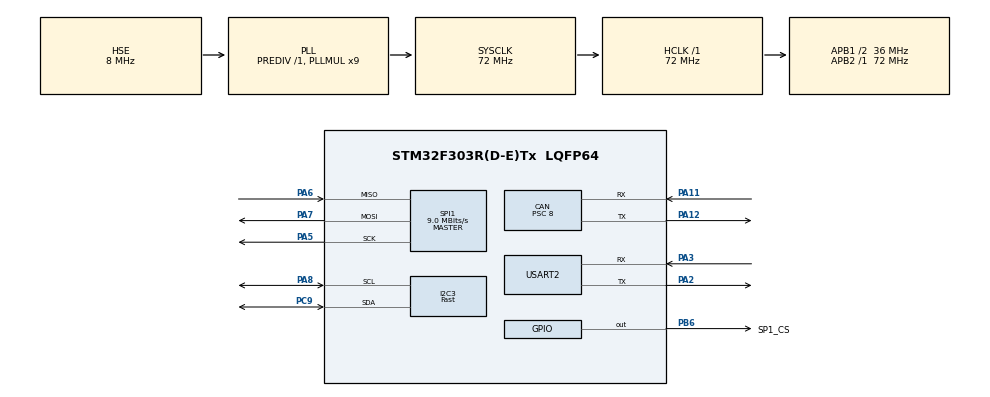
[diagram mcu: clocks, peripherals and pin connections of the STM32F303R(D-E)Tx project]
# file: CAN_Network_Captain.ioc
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CAN.BS1=CAN_BS1_2TQ
CAN.BS2=CAN_BS2_3TQ
CAN.CalculateBaudRate=749999
CAN.CalculateTimeBit=1333
CAN.CalculateTimeQuantum=222.22222222222223
CAN.Mode=CAN_MODE_NORMAL
CAN.NART=DISABLE
CAN.Prescaler=8
CAN.SJW=CAN_SJW_2TQ
FATFS._MAX_SS=4096
FREERTOS.INCLUDE_vTaskDelayUntil=1
FREERTOS.MEMORY_ALLOCATION=0
FREERTOS.Mutexes01=canTelemetryMutex,Dynamic,NULL
FREERTOS.Tasks01=defaultTask,0,128,StartDefaultTask,Default,NULL,Dynamic,NULL,NULL;SDCardSaveTask,2,256,StartSDCardSaveTask,Default,NULL,Dynamic,NULL,NULL;GetData1,-1,256,StartGetData1,Default,NULL,Dynamic,NULL,NULL;GetData2,-1,128,StartGetData2,Default,NULL,Dynamic,NULL,NULL;ReadCAN,0,128,StartReadCAN,Default,NULL,Dynamic,NULL,NULL;GetAccelTask,-1,256,StartGetAccelTask,Default,NULL,Dynamic,NULL,NULL
FREERTOS.configCHECK_FOR_STACK_OVERFLOW=2
FREERTOS.configMINIMAL_STACK_SIZE=128
FREERTOS.configTOTAL_HEAP_SIZE=8192
FREERTOS.configUSE_NEWLIB_REENTRANT=1
I2C3.I2C_Speed_Mode=I2C_Fast
I2C3.Timing=0x0000020B
Mcu.Family=STM32F3
Mcu.Name=STM32F303R(D-E)Tx
Mcu.Package=LQFP64
NVIC.PriorityGroup=NVIC_PRIORITYGROUP_4
NVIC.TIM6_DAC_IRQn=true\:15\:0\:false\:false\:true\:false\:false\:true\:true
NVIC.TimeBase=TIM6_DAC_IRQn
NVIC.TimeBaseIP=TIM6
PA11.Mode=CAN_Activate
PA11.Signal=CAN_RX
PA12.Mode=CAN_Activate
PA12.Signal=CAN_TX
PA2.Mode=Asynchronous
PA2.Signal=USART2_TX
PA3.Mode=Asynchronous
PA3.Signal=USART2_RX
PA5.Mode=Full_Duplex_Master
PA5.Signal=SPI1_SCK
PA6.Mode=Full_Duplex_Master
PA6.Signal=SPI1_MISO
PA7.Mode=Full_Duplex_Master
PA7.Signal=SPI1_MOSI
PA8.Mode=I2C
PA8.Signal=I2C3_SCL
PB6.GPIO_Label=SP1_CS
PB6.Signal=GPIO_Output
PC9.Mode=I2C
PC9.Signal=I2C3_SDA
PF0-OSC_IN.Mode=HSE-External-Oscillator
PF0-OSC_IN.Signal=RCC_OSC_IN
PF1-OSC_OUT.Mode=HSE-External-Oscillator
PF1-OSC_OUT.Signal=RCC_OSC_OUT
ProjectManager.HeapSize=0x200
ProjectManager.StackSize=0x400
ProjectManager.TargetToolchain=STM32CubeIDE
RCC.AHBFreq_Value=72000000
RCC.APB1CLKDivider=RCC_HCLK_DIV2
RCC.APB1Freq_Value=36000000
RCC.APB1TimFreq_Value=72000000
RCC.APB2Freq_Value=72000000
RCC.APB2TimFreq_Value=72000000
RCC.CortexFreq_Value=72000000
RCC.DATA_CACHE_ENABLE=1
RCC.EnbaleCSS=true
RCC.HCLKFreq_Value=72000000
RCC.HSE_VALUE=8000000
RCC.HSI_VALUE=8000000
RCC.INSTRUCTION_CACHE_ENABLE=1
RCC.LSE_VALUE=32768
RCC.PLLMUL=RCC_PLL_MUL9
RCC.PLLSourceVirtual=RCC_PLLSOURCE_HSE
RCC.PWR_Regulator_Voltage_Scale=PWR_REGULATOR_VOLTAGE_SCALE2
RCC.RCC_TIM_PRescaler_Selection=RCC_TIMPRES_DESACTIVATED
RCC.SYSCLKFreq_VALUE=72000000
RCC.SYSCLKSourceVirtual=RCC_SYSCLKSOURCE_PLLCLK
RCC.USBFreq_Value=72000000
SPI1.BaudRatePrescaler=SPI_BAUDRATEPRESCALER_8
SPI1.CalculateBaudRate=9.0 MBits/s
SPI1.DataSize=SPI_DATASIZE_8BIT
SPI1.Direction=SPI_DIRECTION_2LINES
SPI1.Mode=SPI_MODE_MASTER
SPI1.VirtualType=VM_MASTER
USART2.VirtualMode-Asynchronous=VM_ASYNC
VP_FATFS_VS_Generic.Mode=User_defined
VP_FREERTOS_VS_CMSIS_V1.Mode=CMSIS_V1
VP_SYS_VS_tim6.Mode=TIM6
board=custom

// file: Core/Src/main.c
/* USER CODE BEGIN Header */
/**
  ******************************************************************************
  * @file           : main.c
  * @brief          : Main program body
  ******************************************************************************
  * @attention
  *
  * Copyright (c) 2022 STMicroelectronics.
  * All rights reserved.
  *
  * This software is licensed under terms that can be found in the LICENSE file
  * in the root directory of this software component.
  * If no LICENSE file comes with this software, it is provided AS-IS.
  *
  ******************************************************************************
  */
/* USER CODE END Header */
#include "main.h"
#include "cmsis_os.h"
#include "fatfs.h"

/* USER CODE BEGIN Includes */

#include "mpu6050.h"
#include "csv.h"
#include <string.h>
#include <stdio.h>
#include <stdarg.h> //for va_list var arg functions
#include <stdlib.h>
#include <time.h>

/* USER CODE END Includes */

CAN_HandleTypeDef hcan;

I2C_HandleTypeDef hi2c3;

SPI_HandleTypeDef hspi1;

UART_HandleTypeDef huart2;

osThreadId defaultTaskHandle;
osThreadId SDCardSaveTaskHandle;
osThreadId GetData1Handle;
osThreadId GetData2Handle;
osThreadId ReadCANHandle;
osThreadId GetAccelTaskHandle;
osMutexId canTelemetryMutexHandle;
/* USER CODE BEGIN PV */
MPU6050_t MPU6050;

/* USER CODE END PV */

void SystemClock_Config(void);
static void MX_GPIO_Init(void);
static void MX_USART2_UART_Init(void);
static void MX_CAN_Init(void);
static void MX_SPI1_Init(void);
static void MX_I2C3_Init(void);
void StartDefaultTask(void const * argument);
void StartSDCardSaveTask(void const * argument);
void StartGetData1(void const * argument);
void StartGetData2(void const * argument);
void StartReadCAN(void const * argument);
void StartGetAccelTask(void const * argument);

/* USER CODE BEGIN PFP */
void myprintf(const char *fmt, ...);

/* USER CODE END PFP */

/* USER CODE BEGIN 0 */

// FATFS variables
FATFS 		FatFs;
FIL 		rwfile;
FILINFO*	filInfo;
FRESULT 	fres;                 //Result after operations
uint8_t		OVERWRITE = 1;		  // Overwrite files in the directory

// RTOS task variables
int16_t failsafe = 3000;
int16_t DefaultTask_delay = 3000;
int16_t	SDCardSave_delay = 3000;
int16_t	read_delay = 500;
int16_t	accel_read_delay = 200;
int16_t retransmit_delay = 1000;

typedef uint32_t TaskProfiler;
TaskProfiler DefaultProfiler;
uint32_t current_time;				// HAL get tick time since restart
uint32_t accel_data_time;			// change to a single value taskQueue?

// CAN variables
CAN_HandleTypeDef     	CanHandle;
CAN_RxHeaderTypeDef		RxHeader;
uint8_t               	RxData[4];	// global CAN received data
uint32_t              	TxMailbox;	// global CAN transmission mailbox
CAN_FilterTypeDef 		canfil; //CAN Bus Filter
// flag variables for CAN data received, these can be made into signals using osSignalSet()
uint8_t data1collected = 0;
uint8_t accel_data_collected = 0;
// Accelerometer measurement variables, can this be done in DMA?
float Ax, Ay, Az, Gx, Gy, Gz = 0;

//m
//char buffer[100];

/* USER CODE END 0 */

int main(void)
{

  /* MCU Configuration--------------------------------------------------------*/

  /* Reset of all peripherals, Initializes the Flash interface and the Systick. */
  HAL_Init();

  /* Configure the system clock */
  SystemClock_Config();

  /* Initialize all configured peripherals */
  MX_GPIO_Init();
  MX_USART2_UART_Init();
  MX_CAN_Init();
  MX_FATFS_Init();
  MX_SPI1_Init();
  MX_I2C3_Init();
  /* USER CODE BEGIN 2 */

  myprintf("------- CAN Captain Controller ----------\r\n");

  canfil.FilterBank = 0;
  canfil.FilterMode = CAN_FILTERMODE_IDMASK;
  canfil.FilterFIFOAssignment = CAN_RX_FIFO0;
  canfil.FilterIdHigh = 0;
  canfil.FilterIdLow = 0;
  canfil.FilterMaskIdHigh = 0;
  canfil.FilterMaskIdLow = 0;
  canfil.FilterScale = CAN_FILTERSCALE_32BIT;
  canfil.FilterActivation = ENABLE;
  canfil.SlaveStartFilterBank = 14;

  if (HAL_CAN_ConfigFilter(&hcan,&canfil) != HAL_OK){
	Error_Handler();
  }
  if (HAL_CAN_Start(&hcan) != HAL_OK){
	Error_Handler();
  }

  if (HAL_CAN_ActivateNotification(&hcan, CAN_IT_RX_FIFO0_MSG_PENDING) != HAL_OK){
	Error_Handler();
  }

  myprintf("SD Card Connecting\r\n");
  fres = f_mount(&FatFs, "0", 1);    //1=mount now
  if (fres != FR_OK)
  {
  myprintf("No SD Card found : (%i)\r\n", fres);
  }
  else {
  myprintf("SD Card Mounted Successfully!!!\r\n");
  }
  f_mount(NULL, "0", 0);

  /* USER CODE END 2 */

  /* Create the mutex(es) */
  /* definition and creation of canTelemetryMutex */
  osMutexDef(canTelemetryMutex);
  canTelemetryMutexHandle = osMutexCreate(osMutex(canTelemetryMutex));

  /* Create the thread(s) */
  /* definition and creation of defaultTask */
  osThreadDef(defaultTask, StartDefaultTask, osPriorityNormal, 0, 128);
  defaultTaskHandle = osThreadCreate(osThread(defaultTask), NULL);

  /* definition and creation of SDCardSaveTask */
  osThreadDef(SDCardSaveTask, StartSDCardSaveTask, osPriorityHigh, 0, 256);
  SDCardSaveTaskHandle = osThreadCreate(osThread(SDCardSaveTask), NULL);

  /* definition and creation of GetData1 */
  osThreadDef(GetData1, StartGetData1, osPriorityBelowNormal, 0, 256);
  GetData1Handle = osThreadCreate(osThread(GetData1), NULL);

  /* definition and creation of GetData2 */
  osThreadDef(GetData2, StartGetData2, osPriorityBelowNormal, 0, 128);
  GetData2Handle = osThreadCreate(osThread(GetData2), NULL);

  /* definition and creation of ReadCAN */
  osThreadDef(ReadCAN, StartReadCAN, osPriorityNormal, 0, 128);
  ReadCANHandle = osThreadCreate(osThread(ReadCAN), NULL);

  /* definition and creation of GetAccelTask */
  osThreadDef(GetAccelTask, StartGetAccelTask, osPriorityBelowNormal, 0, 256);
  GetAccelTaskHandle = osThreadCreate(osThread(GetAccelTask), NULL);

  /* USER CODE BEGIN RTOS_THREADS */
  /* add threads, ... */
  //osThreadDef(CANMailboxCheck, StartCANMailboxCheck, osPriorityNormal, 0, 128);

  /* USER CODE END RTOS_THREADS */

  /* Start scheduler */
  osKernelStart();

  /* We should never get here as control is now taken by the scheduler */
  /* Infinite loop */
  while (1)
  {

  }
}

void SystemClock_Config(void)
{
  RCC_OscInitTypeDef RCC_OscInitStruct = {0};
  RCC_ClkInitTypeDef RCC_ClkInitStruct = {0};
  RCC_PeriphCLKInitTypeDef PeriphClkInit = {0};

  /** Initializes the RCC Oscillators according to the specified parameters
  * in the RCC_OscInitTypeDef structure.
  */
  RCC_OscInitStruct.OscillatorType = RCC_OSCILLATORTYPE_HSI|RCC_OSCILLATORTYPE_HSE;
  RCC_OscInitStruct.HSEState = RCC_HSE_ON;
  RCC_OscInitStruct.HSIState = RCC_HSI_ON;
  RCC_OscInitStruct.HSICalibrationValue = RCC_HSICALIBRATION_DEFAULT;
  RCC_OscInitStruct.PLL.PLLState = RCC_PLL_ON;
  RCC_OscInitStruct.PLL.PLLSource = RCC_PLLSOURCE_HSE;
  RCC_OscInitStruct.PLL.PLLMUL = RCC_PLL_MUL9;
  RCC_OscInitStruct.PLL.PREDIV = RCC_PREDIV_DIV1;
  if (HAL_RCC_OscConfig(&RCC_OscInitStruct) != HAL_OK)
  {
    Error_Handler();
  }

  /** Initializes the CPU, AHB and APB buses clocks
  */
  RCC_ClkInitStruct.ClockType = RCC_CLOCKTYPE_HCLK|RCC_CLOCKTYPE_SYSCLK
                              |RCC_CLOCKTYPE_PCLK1|RCC_CLOCKTYPE_PCLK2;
  RCC_ClkInitStruct.SYSCLKSource = RCC_SYSCLKSOURCE_PLLCLK;
  RCC_ClkInitStruct.AHBCLKDivider = RCC_SYSCLK_DIV1;
  RCC_ClkInitStruct.APB1CLKDivider = RCC_HCLK_DIV2;
  RCC_ClkInitStruct.APB2CLKDivider = RCC_HCLK_DIV1;

  if (HAL_RCC_ClockConfig(&RCC_ClkInitStruct, FLASH_LATENCY_2) != HAL_OK)
  {
    Error_Handler();
  }
  PeriphClkInit.PeriphClockSelection = RCC_PERIPHCLK_USART2|RCC_PERIPHCLK_I2C3;
  PeriphClkInit.Usart2ClockSelection = RCC_USART2CLKSOURCE_PCLK1;
  PeriphClkInit.I2c3ClockSelection = RCC_I2C3CLKSOURCE_HSI;
  if (HAL_RCCEx_PeriphCLKConfig(&PeriphClkInit) != HAL_OK)
  {
    Error_Handler();
  }

  /** Enables the Clock Security System
  */
  HAL_RCC_EnableCSS();
}

static void MX_CAN_Init(void)
{

  hcan.Instance = CAN;
  hcan.Init.Prescaler = 8;
  hcan.Init.Mode = CAN_MODE_NORMAL;
  hcan.Init.SyncJumpWidth = CAN_SJW_2TQ;
  hcan.Init.TimeSeg1 = CAN_BS1_2TQ;
  hcan.Init.TimeSeg2 = CAN_BS2_3TQ;
  hcan.Init.TimeTriggeredMode = DISABLE;
  hcan.Init.AutoBusOff = DISABLE;
  hcan.Init.AutoWakeUp = DISABLE;
  hcan.Init.AutoRetransmission = DISABLE;
  hcan.Init.ReceiveFifoLocked = DISABLE;
  hcan.Init.TransmitFifoPriority = DISABLE;
  if (HAL_CAN_Init(&hcan) != HAL_OK)
  {
    Error_Handler();
  }

}

static void MX_I2C3_Init(void)
{

  hi2c3.Instance = I2C3;
  hi2c3.Init.Timing = 0x0000020B;
  hi2c3.Init.OwnAddress1 = 0;
  hi2c3.Init.AddressingMode = I2C_ADDRESSINGMODE_7BIT;
  hi2c3.Init.DualAddressMode = I2C_DUALADDRESS_DISABLE;
  hi2c3.Init.OwnAddress2 = 0;
  hi2c3.Init.OwnAddress2Masks = I2C_OA2_NOMASK;
  hi2c3.Init.GeneralCallMode = I2C_GENERALCALL_DISABLE;
  hi2c3.Init.NoStretchMode = I2C_NOSTRETCH_DISABLE;
  if (HAL_I2C_Init(&hi2c3) != HAL_OK)
  {
    Error_Handler();
  }

  /** Configure Analogue filter
  */
  if (HAL_I2CEx_ConfigAnalogFilter(&hi2c3, I2C_ANALOGFILTER_ENABLE) != HAL_OK)
  {
    Error_Handler();
  }

  /** Configure Digital filter
  */
  if (HAL_I2CEx_ConfigDigitalFilter(&hi2c3, 0) != HAL_OK)
  {
    Error_Handler();
  }

}

static void MX_SPI1_Init(void)
{

  /* SPI1 parameter configuration*/
  hspi1.Instance = SPI1;
  hspi1.Init.Mode = SPI_MODE_MASTER;
  hspi1.Init.Direction = SPI_DIRECTION_2LINES;
  hspi1.Init.DataSize = SPI_DATASIZE_8BIT;
  hspi1.Init.CLKPolarity = SPI_POLARITY_LOW;
  hspi1.Init.CLKPhase = SPI_PHASE_1EDGE;
  hspi1.Init.NSS = SPI_NSS_SOFT;
  hspi1.Init.BaudRatePrescaler = SPI_BAUDRATEPRESCALER_8;
  hspi1.Init.FirstBit = SPI_FIRSTBIT_MSB;
  hspi1.Init.TIMode = SPI_TIMODE_DISABLE;
  hspi1.Init.CRCCalculation = SPI_CRCCALCULATION_DISABLE;
  hspi1.Init.CRCPolynomial = 7;
  hspi1.Init.CRCLength = SPI_CRC_LENGTH_DATASIZE;
  hspi1.Init.NSSPMode = SPI_NSS_PULSE_ENABLE;
  if (HAL_SPI_Init(&hspi1) != HAL_OK)
  {
    Error_Handler();
  }

}

static void MX_USART2_UART_Init(void)
{

  huart2.Instance = USART2;
  huart2.Init.BaudRate = 38400;
  huart2.Init.WordLength = UART_WORDLENGTH_8B;
  huart2.Init.StopBits = UART_STOPBITS_1;
  huart2.Init.Parity = UART_PARITY_NONE;
  huart2.Init.Mode = UART_MODE_TX_RX;
  huart2.Init.HwFlowCtl = UART_HWCONTROL_NONE;
  huart2.Init.OverSampling = UART_OVERSAMPLING_16;
  huart2.Init.OneBitSampling = UART_ONE_BIT_SAMPLE_DISABLE;
  huart2.AdvancedInit.AdvFeatureInit = UART_ADVFEATURE_NO_INIT;
  if (HAL_UART_Init(&huart2) != HAL_OK)
  {
    Error_Handler();
  }

}

static void MX_GPIO_Init(void)
{
  GPIO_InitTypeDef GPIO_InitStruct = {0};

  /* GPIO Ports Clock Enable */
  __HAL_RCC_GPIOF_CLK_ENABLE();
  __HAL_RCC_GPIOA_CLK_ENABLE();
  __HAL_RCC_GPIOC_CLK_ENABLE();
  __HAL_RCC_GPIOB_CLK_ENABLE();

  /*Configure GPIO pin Output Level */
  HAL_GPIO_WritePin(SP1_CS_GPIO_Port, SP1_CS_Pin, GPIO_PIN_RESET);

  /*Configure GPIO pin : SP1_CS_Pin */
  GPIO_InitStruct.Pin = SP1_CS_Pin;
  GPIO_InitStruct.Mode = GPIO_MODE_OUTPUT_PP;
  GPIO_InitStruct.Pull = GPIO_NOPULL;
  GPIO_InitStruct.Speed = GPIO_SPEED_FREQ_LOW;
  HAL_GPIO_Init(SP1_CS_GPIO_Port, &GPIO_InitStruct);

}

/* USER CODE BEGIN 4 */

int dataShift = 10;
int dataPacket = 1;

void myprintf(const char *fmt, ...) {

	char *buffer = malloc(100);

	va_list args;
	va_start(args, fmt);
	vsnprintf(buffer, 100, fmt, args);
	va_end(args);

	int len = strlen(buffer);
	HAL_UART_Transmit(&huart2, (uint8_t*)buffer, len, 1000);
	free(buffer);
}

char* int_to_string(int num) {
    int len = snprintf(NULL, 0, "%.10d", num);
    char* str = malloc(len + 1);
    snprintf(str, len + 1, "%.10d", num);
    return str;
}

void printCANMessage(CAN_RxHeaderTypeDef Header, uint8_t data[]){
	char dataStr[20];
	myprintf("canMsg = 0x%lx %li", Header.StdId, Header.DLC);
	for (int i = 0; i<Header.DLC; i++)  {  // print the data
		myprintf(dataStr, " %x", data[i]);
	}
	myprintf("\r\n");
}

void print_buffer(CSV_BUFFER *buffer){
	int i, j;
	myprintf("\n");
	for (i = 0; i < buffer->rows; i++) {
		for (j = 0; j < buffer->width[i]; j++) {
			myprintf("%c%s%c%c", buffer->text_delim, buffer->field[i][j]->text, buffer->text_delim, buffer->field_delim);
		}
		myprintf("\r\n");
	}
	myprintf("\r\n");
}

// float to string
void ftstr(char* str, float num) {
	int whole = (int)num;
	int dec = (int)((num - whole) * 1000 + 0.5); // 3 decimal places
	if (dec < 0) {
	        dec = -dec;
	    }
	if (whole < 99999){
		sprintf(str, "%d.%d", whole, dec);
	}
}

/* USER CODE END 4 */

void StartDefaultTask(void const * argument)
{
  /* USER CODE BEGIN 5 */
	CAN_TxHeaderTypeDef   TxHeader;

	// CAN default data
	TxHeader.StdId = 0x222;
	TxHeader.ExtId = 0x00;
	TxHeader.RTR = CAN_RTR_DATA;
	TxHeader.IDE = CAN_ID_STD;
	TxHeader.DLC = 4;
	TxHeader.TransmitGlobalTime = DISABLE;

	uint8_t freeMailboxs;
	uint8_t data[10] = "bcad";

	/* Infinite loop */
	for(;;)
	{
		//myprintf(" -- STARTING thread DefaultTask -- \r\n");
		DefaultProfiler++;

//		if (HAL_CAN_AddTxMessage(&hcan, &TxHeader, data, &TxMailbox) != HAL_OK){
//			Error_Handler();
//		}
//		freeMailboxs = HAL_CAN_GetTxMailboxesFreeLevel(&hcan);
//		myprintf("packet sent: %s\r\n", data);
//		myprintf("num free mailboxs: %i\r\n", freeMailboxs);
//		myprintf("text mailbox used: %ld\r\n", TxMailbox);

		//myprintf(" -- ENDING thread DefaultTask -- \r\n");
		osDelay(DefaultTask_delay);	// Task is put to sleep for 500ms
	}
  /* USER CODE END 5 */
}

void StartSDCardSaveTask(void const * argument)
{
  /* USER CODE BEGIN StartSDCardSaveTask */
  uint16_t current_row = 0;
  uint8_t file_number = 1;
  TCHAR file_path[30];
  char string_value[20] = {0};

  sprintf(file_path, "0:/csv/test%hu.csv", file_number);
  /* Infinite loop */
  for(;;)
  {
	myprintf(" -- STARTING thread SDCardSave -- \r\n");

	myprintf("Mounting SD card\r\n");
		fres = f_mount(&FatFs, "0", 1);
		if (fres != FR_OK){
			myprintf("f_mount problem: %d\r\n", fres);
		}
		else if (file_number < 10){
			myprintf("SD Card Mounted!\r\n");

			if (current_row > 10 || file_number == 1){
				current_row = 0;
				do {
					sprintf(file_path, "0:/csv/test%hu.csv", file_number);
					fres = f_stat(file_path, filInfo);
					file_number++;
					if (fres != FR_OK) break;
					myprintf("filepath exists: %s\r\n",file_path);
				} while(fres != FR_NO_FILE && !OVERWRITE);
			}

			myprintf("using filepath: %s\r\n",file_path);

			// read file, else if doesnt exist create new file
			fres = f_open(&rwfile, file_path, FA_OPEN_ALWAYS | FA_READ | FA_WRITE);
			if (fres != FR_OK)
			{
				myprintf("f_open problem: %d\r\n", fres);
			}
			else{
				myprintf("Creating buffer\r\n");
				CSV_BUFFER *buffer = csv_create_buffer();

				if (current_row == 0){
					// first write to the file requires the data headings to be defined
					myprintf("Writing data headings \r\n");
					csv_set_field(buffer, 0, 0, "Time (ms)");
					csv_set_field(buffer, 0, 1, "Accel x (m/s2)");
					csv_set_field(buffer, 0, 2, "Accel y (m/s2)");
					csv_set_field(buffer, 0, 3, "Accel z (m/s2)");
					csv_set_field(buffer, 0, 4, "Roll x (m/s2)");
					csv_set_field(buffer, 0, 5, "Roll y (m/s2)");
					csv_set_field(buffer, 0, 6, "Roll z (m/s2)");
					csv_set_field(buffer, 0, 7, "Temp (C)\r");
					current_row++;
				}
				else{
					myprintf("Loading csv\r\n");
					csv_load(buffer, &rwfile);
				}

				myprintf("editing csv\r\n");
				// add a row of measurement values
				if(accel_data_collected){			// set MPU6050 values
					memset(string_value, 0, sizeof(string_value));
					sprintf(string_value, "%li", accel_data_time);
					csv_set_field(buffer, current_row, 0, string_value);
					memset(string_value, 0, sizeof(string_value));
					ftstr(string_value, Ax);
					csv_set_field(buffer, current_row, 1, string_value);
					memset(string_value, 0, sizeof(string_value));
					ftstr(string_value, Ay);
					csv_set_field(buffer, current_row, 2, string_value);
					memset(string_value, 0, sizeof(string_value));
					ftstr(string_value, Az);
					csv_set_field(buffer, current_row, 3, string_value);
					memset(string_value, 0, sizeof(string_value));
					ftstr(string_value, Gx);
					csv_set_field(buffer, current_row, 4, string_value);
					memset(string_value, 0, sizeof(string_value));
					ftstr(string_value, Gy);
					csv_set_field(buffer, current_row, 5, string_value);
					memset(string_value, 0, sizeof(string_value));
					ftstr(string_value, Gz);
					csv_set_field(buffer, current_row, 6, string_value);
					// final character placeholder
					// the \r is needed for csv_set_field termination of the row
					csv_set_field(buffer, current_row+1, 0, "end\r");
					current_row++;
				}
				print_buffer(buffer);
				csv_save(&rwfile, buffer);

				f_mount(NULL, "0", 0);

				f_close(&rwfile);
				csv_destroy_buffer(buffer);
				}
			}
		else{
			myprintf("file write completed\r\n");
		}

	// restart CAN telemetry threads
	//myprintf(" -- RESUMING thread GetData1 -- \r\n");
	osThreadResume(GetData1Handle);
	//myprintf(" -- RESUMING thread GetData2 -- \r\n");
	osThreadResume(GetData2Handle);
	// reset data collection
	//myprintf(" -- RESUMING thread GetAccel -- \r\n");
	osThreadResume(GetAccelTaskHandle);
	accel_data_collected = 0;
	myprintf(" -- ENDING thread SDCardSave -- \r\n");
	osDelay(SDCardSave_delay);
  }
  /* USER CODE END StartSDCardSaveTask */
}

void StartGetData1(void const * argument)
{
  /* USER CODE BEGIN StartGetData1 */
	CAN_TxHeaderTypeDef   TxHeader1;

	// can transmission 1
	TxHeader1.StdId = 0x201;
	TxHeader1.ExtId = 0x00;
	TxHeader1.RTR = CAN_RTR_DATA;
	TxHeader1.IDE = CAN_ID_STD;
	TxHeader1.DLC = 4;
	TxHeader1.TransmitGlobalTime = DISABLE;

	uint8_t TransmissionData1[8] = "dat1";
	uint8_t node1req[4] = {0x77, 0x6f, 0x6f, 0x66};

	/* Infinite loop */
  for(;;)
  {
	  myprintf(" -- STARTING thread GetData1 -- \r\n");
	  if(HAL_CAN_GetTxMailboxesFreeLevel(&hcan)){
		  if(HAL_CAN_AddTxMessage(&hcan, &TxHeader1, TransmissionData1, &TxMailbox) == HAL_OK){
			  myprintf("CAN message sent to data1\r\n");}
		  else{
			  Error_Handler();
		  }
	  }
	  osDelay(10);	// response delay
	  // continue retransmission until data1 is collected
	  // change this to wait for a flag change from ReadCAN
	  if (RxHeader.StdId == 0x206 &&
		  RxData[0] == node1req[0] &&
		  RxData[1] == node1req[1] &&
	      RxData[2] == node1req[2] &&
		  RxData[3] == node1req[3]){
		  // process data1...
		  myprintf("CAN response from node1\r\n");
		  myprintf("processing...\r\n");
		  myprintf(" -- SUSPENDING thread GetData1 -- \r\n");
		  osThreadSuspend(GetData1Handle);
	  }
	  else{
		  myprintf("no CAN response, delaying thread GetData1\r\n");
		  current_time = HAL_GetTick();
		  myprintf("current time: %lu\r\n", current_time);
		  myprintf(" -- ENDING thread GetData1 -- \r\n");
		  osDelay(retransmit_delay);
	  }

  }
  /* USER CODE END StartGetData1 */
}

void StartGetData2(void const * argument)
{
  /* USER CODE BEGIN StartGetData2 */
  /* Infinite loop */
  for(;;)
  {
    osDelay(retransmit_delay);
  }
  /* USER CODE END StartGetData2 */
}

void StartReadCAN(void const * argument)
{
  /* USER CODE BEGIN StartReadCAN */
	/* Infinite loop */
	for(;;)
	{
		//myprintf(" -- STARTING thread ReadCAN -- \r\n");
		if(HAL_CAN_GetRxFifoFillLevel(&hcan, CAN_RX_FIFO0)){
			HAL_CAN_GetRxMessage(&hcan, CAN_RX_FIFO0, &RxHeader, RxData);
			//HAL_GPIO_TogglePin(LED_GPIO_Port, LED_Pin);	//LED shows a CAN message read
			printCANMessage(RxHeader, RxData);

//			if (RxHeader.StdId == 0x206){
//				myprintf("data request response from node1 of id 0x206\r\n");
//				data1collected = 1;	// can be changed into thread signal/flag
//			}
		}
		//myprintf(" -- ENDING thread ReadCAN -- \r\n");
		osDelay(read_delay);
	}
  /* USER CODE END StartReadCAN */
}

void StartGetAccelTask(void const * argument)
{
  /* USER CODE BEGIN StartGetAccelTask */
  /* Infinite loop */
	uint8_t accel_cnt = 0;
	MPU6050_Init(&hi2c3);
  /* Infinite loop */
  for(;;)
  {
	myprintf(" -- running MPU6050 measurement task -- \r\n");
	Ax = 0;
	Ay = 0;
	Az = 0;
	Gx = 0;
	Gy = 0;
	Gz = 0;
	// take 4 accel_cnt to average out the value
	for(int i = 0; i < 4; i++){
		if (!MPU6050_Read_All(&hi2c3, &MPU6050)){
			myprintf("fetching.. ");
			Ax += MPU6050.Ax;
			Ay += MPU6050.Ay;
			Az += MPU6050.Az;
			Gx += MPU6050.Gx;
			Gy += MPU6050.Gy;
			Gz += MPU6050.Gz;
			accel_cnt++;
		}
	}
	if(accel_cnt == 4){
		myprintf(" Data collected.\r\n");
		accel_data_collected = 1;
		accel_data_time = HAL_GetTick();
		Ax += Ax/4;
		Ay += Ay/4;
		Az += Az/4;
		Gx += Gx/4;
		Gy += Gy/4;
		Gz += Gz/4;
		osThreadSuspend(GetAccelTaskHandle);
	}
	else{
		MPU6050_Init(&hi2c3);
	}
	accel_cnt = 0;
	osDelay(accel_read_delay);
	}

  /* USER CODE END StartGetAccelTask */
}

void HAL_TIM_PeriodElapsedCallback(TIM_HandleTypeDef *htim)
{
  if (htim->Instance == TIM6) {
    HAL_IncTick();
  }
}

void Error_Handler(void)
{
  /* USER CODE BEGIN Error_Handler_Debug */
  /* User can add his own implementation to report the HAL error return state */
  __disable_irq();
  while (1)
  {
	  myprintf("HAL error occurred!\r\n"); // print
  }
  /* USER CODE END Error_Handler_Debug */
}

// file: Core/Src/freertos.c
/* USER CODE BEGIN Header */
/**
  ******************************************************************************
  * File Name          : freertos.c
  * Description        : Code for freertos applications
  ******************************************************************************
  * @attention
  *
  * Copyright (c) 2023 STMicroelectronics.
  * All rights reserved.
  *
  * This software is licensed under terms that can be found in the LICENSE file
  * in the root directory of this software component.
  * If no LICENSE file comes with this software, it is provided AS-IS.
  *
  ******************************************************************************
  */
/* USER CODE END Header */

#include "FreeRTOS.h"
#include "task.h"
#include "main.h"

/* Hook prototypes */
void vApplicationStackOverflowHook(xTaskHandle xTask, signed char *pcTaskName);

/* USER CODE BEGIN 4 */
__weak void vApplicationStackOverflowHook(xTaskHandle xTask, signed char *pcTaskName)
{
   /* Run time stack overflow checking is performed if
   configCHECK_FOR_STACK_OVERFLOW is defined to 1 or 2. This hook function is
   called if a stack overflow is detected. */
	int stackoverflow = 1;
}
/* USER CODE END 4 */
